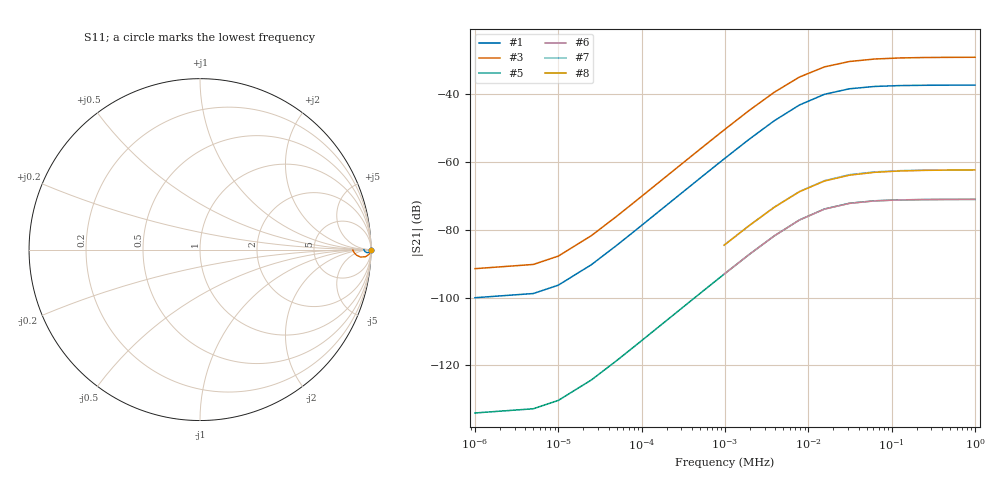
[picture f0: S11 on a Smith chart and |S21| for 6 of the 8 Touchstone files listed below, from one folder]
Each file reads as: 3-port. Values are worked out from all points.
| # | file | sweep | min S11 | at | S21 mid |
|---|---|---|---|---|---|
| 1 | Sparam_BioZ_arm_2cm.s3p | 1 Hz to 1 MHz | -0.4 dB | 1 MHz | -59.1 dB at 976.6 Hz |
| 2 | Sparam_BioZ_arm_4cm.s3p | 1 Hz to 1 MHz | -0.4 dB | 1 MHz | -59.1 dB at 976.6 Hz |
| 3 | Sparam_BioZ_leg_2cm.s3p | 1 Hz to 1 MHz | -1.0 dB | 1 MHz | -50.6 dB at 976.6 Hz |
| 4 | Sparam_BioZ_leg_4cm.s3p | 1 Hz to 1 MHz | -1.0 dB | 1 MHz | -50.6 dB at 976.6 Hz |
| 5 | Zparam_BioZ_arm_2cm.s3p | 1 Hz to 1 MHz | 0.0 dB | 1 MHz | -93.1 dB at 976.6 Hz |
| 6 | Zparam_BioZ_arm_4cm.s3p | 976.6 Hz to 1 MHz | 0.0 dB | 1 MHz | -72.2 dB at 31.25 kHz |
| 7 | Zparam_BioZ_leg_2cm.s3p | 976.6 Hz to 1 MHz | 0.0 dB | 1 MHz | -63.7 dB at 31.25 kHz |
| 8 | Zparam_BioZ_leg_4cm.s3p | 976.6 Hz to 1 MHz | 0.0 dB | 1 MHz | -63.9 dB at 31.25 kHz |
